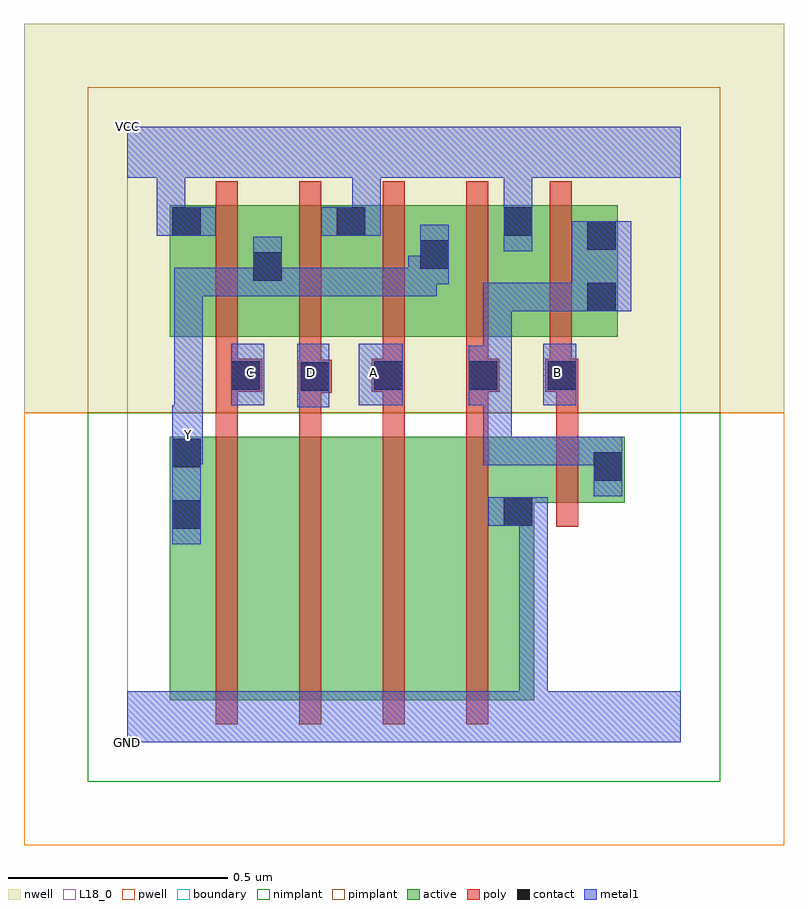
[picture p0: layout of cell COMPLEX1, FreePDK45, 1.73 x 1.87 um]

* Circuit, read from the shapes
.subckt COMPLEX1 A B C D GND VCC Y
M1 n1 C Y VSUBS nfet w=0.6u l=0.05u
M2 n2 D n1 VSUBS nfet w=0.6u l=0.05u
M3 n3 A n2 VSUBS nfet w=0.6u l=0.05u
M4 GND n4 n3 VSUBS nfet w=0.6u l=0.05u
M5 n4 B GND VSUBS nfet w=0.15u l=0.05u
M6 Y C VCC n5 pfet w=0.3u l=0.05u
M7 VCC D Y n5 pfet w=0.3u l=0.05u
M8 Y A VCC n5 pfet w=0.3u l=0.05u
M9 VCC n4 Y n5 pfet w=0.3u l=0.05u
M10 n4 B VCC n5 pfet w=0.3u l=0.05u
.ends

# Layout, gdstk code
import gdstk
lib = gdstk.Library(unit=1e-6, precision=1e-09)
def R(c, l, rs):  # rectangles x0, y0, x1, y1
    for r in rs: c.add(gdstk.rectangle(r[:2], r[2:], *l))
def A(c, l, x, y, w, h, nx, ny, dx, dy):  # array of equal rectangles
    R(c, l, [(x+i*dx, y+j*dy, x+i*dx+w, y+j*dy+h) for i in range(nx) for j in range(ny)])
active = (1, 0)
pwell = (2, 0)
nwell = (3, 0)
nimplant = (4, 0)
pimplant = (5, 0)
poly = (9, 0)
contact = (10, 0)
metal1 = (11, 0)
L18_0 = (18, 0)
boundary = (235, 0)

complex1 = lib.new_cell('COMPLEX1')
A(complex1, active, 0.282, 0.922, 0.265, 0.3, 4, 1, 0.19, 0)
R(complex1, active, [(0.097,0.095,0.322,0.695), (0.097,0.095,0.202,0.695), (0.322,0.095,0.512,0.695), (0.512,0.095,0.702,0.695), (0.702,0.095,0.927,0.695), (0.852,0.487,0.927,0.695), (0.852,0.545,1.132,0.695), (1.057,0.545,1.132,0.695), (0.097,0.922,0.357,1.222), (0.097,0.922,0.172,1.222), (0.662,0.922,0.737,1.167), (1.042,0.922,1.117,1.2), (0.472,1.002,0.547,1.222), (0.282,1.007,0.357,1.167), (0.852,1.007,0.927,1.222)])
R(complex1, pwell, [(-0.235,-0.235,1.495,0.75)])
R(complex1, nwell, [(-0.235,0.75,1.495,1.635)])
R(complex1, nimplant, [(-0.09,-0.09,1.35,0.75)])
R(complex1, pimplant, [(-0.09,0.75,1.35,1.49)])
A(complex1, poly, 0.202, 0.04, 0.05, 0.71, 4, 1, 0.19, 0)
A(complex1, poly, 0.582, 0.822, 0.05, 0.095, 3, 1, 0.19, 0)
A(complex1, poly, 0.202, 0.867, 0.05, 0.41, 5, 1, 0.19, 0)
R(complex1, poly, [(0.977,0.49,1.027,0.75), (0.202,0.7,0.252,0.847), (0.392,0.7,0.442,0.845), (0.582,0.7,0.632,0.847), (0.772,0.7,0.822,0.847), (0.977,0.7,1.027,0.847), (0.39,0.795,0.465,0.87), (0.202,0.797,0.307,0.872), (0.557,0.797,0.632,0.872), (0.772,0.797,0.847,0.872), (0.952,0.797,1.027,0.872), (0.392,0.82,0.442,0.917), (0.202,0.822,0.252,0.917)])
R(complex1, contact, [(0.102,0.485,0.167,0.55), (0.857,0.492,0.922,0.557), (1.062,0.595,1.127,0.66), (0.102,0.625,0.167,0.69), (0.395,0.8,0.46,0.865), (0.237,0.802,0.302,0.867), (0.562,0.802,0.627,0.867), (0.777,0.802,0.842,0.867), (0.957,0.802,1.022,0.867), (1.047,0.98,1.112,1.045), (0.287,1.05,0.352,1.115), (0.667,1.077,0.732,1.142), (1.047,1.12,1.112,1.185), (0.102,1.152,0.167,1.217), (0.477,1.152,0.542,1.217), (0.857,1.152,0.922,1.217)])
R(complex1, metal1, [(0,0,1.26,0.115), (0.892,0.05,0.957,0.557), (0.102,0.45,0.167,0.725), (0.822,0.492,0.957,0.557), (1.062,0.56,1.127,0.695), (0.81,0.63,0.875,0.695), (0.81,0.63,1.127,0.695), (0.81,0.63,0.875,0.832), (1.062,0.63,1.127,0.695), (1.062,0.63,1.127,0.695), (0.102,0.632,0.172,0.767), (0.102,0.66,0.167,0.725), (0.107,0.702,0.172,1.08), (0.387,0.762,0.46,0.907), (0.237,0.767,0.312,0.907), (0.527,0.767,0.627,0.907), (0.777,0.767,0.842,0.902), (0.777,0.767,0.875,0.832), (0.81,0.767,0.875,0.832), (0.81,0.767,0.875,1.045), (0.947,0.767,1.022,0.907), (0.81,0.98,0.875,1.045), (0.81,0.98,1.077,1.045), (1.012,0.98,1.077,1.045), (1.012,0.98,1.077,1.045), (1.012,0.98,1.147,1.185), (0.107,1.015,0.172,1.08), (0.107,1.015,0.172,1.08), (0.107,1.015,0.172,1.08), (0.107,1.015,0.352,1.08), (0.287,1.015,0.352,1.08), (0.287,1.015,0.352,1.08), (0.287,1.015,0.352,1.15), (0.287,1.015,0.595,1.08), (0.53,1.015,0.595,1.08), (0.53,1.015,0.705,1.08), (0.64,1.015,0.705,1.107), (0.64,1.042,0.732,1.107), (0.667,1.042,0.732,1.177), (0.857,1.117,0.922,1.252), (0.067,1.152,0.132,1.217), (0.067,1.152,0.132,1.217), (0.067,1.152,0.202,1.217), (0.067,1.152,0.132,1.35), (0.442,1.152,0.577,1.217), (0.512,1.152,0.577,1.35), (0.857,1.187,0.922,1.252), (0.857,1.187,0.922,1.252), (0.857,1.187,0.922,1.35), (0,1.285,1.26,1.4), (0.512,1.285,0.577,1.35), (0.512,1.285,0.577,1.35)])
A(complex1, L18_0, 0.247, 0.807, 0.065, 0.065, 3, 1, 0.14, 0)
R(complex1, L18_0, [(0,0,1.26,0.115), (0.892,0.05,0.957,0.557), (0.102,0.45,0.167,0.725), (0.822,0.492,0.957,0.557), (0.102,0.632,0.172,0.767), (0.102,0.66,0.167,0.725), (0.107,0.667,0.172,0.732), (0.107,0.702,0.172,1.08), (0.387,0.762,0.46,0.907), (0.237,0.767,0.312,0.907), (0.527,0.767,0.627,0.907), (0.947,0.767,1.022,0.907), (0.947,0.807,1.012,0.872), (0.107,1.015,0.172,1.08), (0.107,1.015,0.172,1.08), (0.107,1.015,0.172,1.08), (0.107,1.015,0.352,1.08), (0.287,1.015,0.352,1.08), (0.287,1.015,0.352,1.08), (0.287,1.015,0.352,1.15), (0.287,1.015,0.595,1.08), (0.53,1.015,0.595,1.08), (0.53,1.015,0.705,1.08), (0.64,1.015,0.705,1.107), (0.64,1.042,0.732,1.107), (0.667,1.042,0.732,1.177), (0.857,1.117,0.922,1.252), (0.067,1.152,0.132,1.217), (0.067,1.152,0.132,1.217), (0.067,1.152,0.202,1.217), (0.067,1.152,0.132,1.35), (0.442,1.152,0.577,1.217), (0.512,1.152,0.577,1.35), (0.857,1.187,0.922,1.252), (0.857,1.187,0.922,1.252), (0.857,1.187,0.922,1.35), (0,1.285,1.26,1.4), (0.512,1.285,0.577,1.35), (0.512,1.285,0.577,1.35)])
R(complex1, boundary, [(0,0,1.26,1.4)])
complex1.add(gdstk.Label('A', (0.56,0.84), layer=11, texttype=0))
complex1.add(gdstk.Label('B', (0.98,0.84), layer=11, texttype=0))
complex1.add(gdstk.Label('C', (0.28,0.84), layer=11, texttype=0))
complex1.add(gdstk.Label('D', (0.42,0.84), layer=11, texttype=0))
complex1.add(gdstk.Label('Y', (0.14,0.7), layer=11, texttype=0))
complex1.add(gdstk.Label('VCC', (0,1.4), layer=11, texttype=0))
complex1.add(gdstk.Label('GND', (0,0), layer=11, texttype=0))

lib.write_gds('COMPLEX1.gds')
